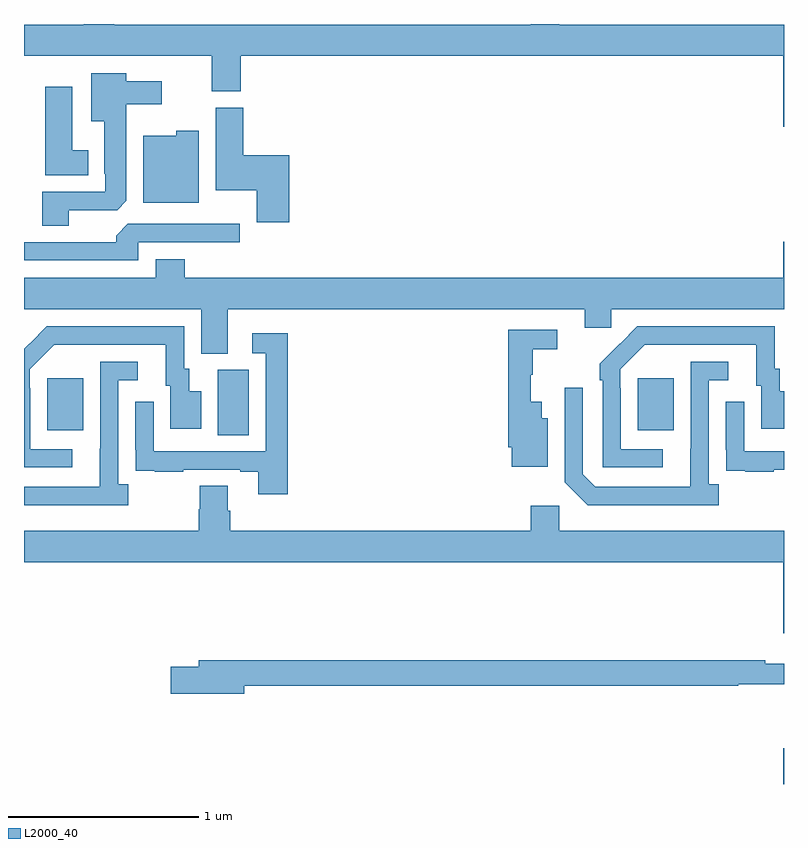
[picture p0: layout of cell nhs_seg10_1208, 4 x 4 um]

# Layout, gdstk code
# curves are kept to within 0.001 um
import gdstk
lib = gdstk.Library(unit=1e-6, precision=1e-09)
def R(c, l, rs):  # rectangles x0, y0, x1, y1
    for r in rs: c.add(gdstk.rectangle(r[:2], r[2:], *l))
def P(c, l, *ps):  # polygons
    for p in ps: c.add(gdstk.Polygon(p, *l))
L2000_40 = (2000, 40)

nhs_seg10_1208 = lib.new_cell('nhs_seg10_1208')
R(nhs_seg10_1208, L2000_40, [(176.996,1280.5,177,1280.689), (174.02,1282.336,174.184,1282.68), (173.123,1282.361,173.311,1282.636), (176.231,1282.361,176.419,1282.636)])
P(nhs_seg10_1208, L2000_40, [(177,1284.496),(175.818,1284.496),(175.818,1284.5),(175.667,1284.5),(175.667,1284.496),(173.474,1284.496),(173.474,1284.5),(173.314,1284.5),(173.314,1284.496),(173,1284.496),(173,1284.332),(173.987,1284.332),(173.987,1284.145),(174.14,1284.145),(174.14,1284.332),(176.996,1284.332),(176.996,1283.958),(177,1283.958)],
  [(173.236,1283.52),(173.49,1283.52),(173.539,1283.569),(173.539,1284.077),(173.725,1284.077),(173.725,1284.199),(173.539,1284.199),(173.539,1284.241),(173.354,1284.241),(173.354,1283.987),(173.423,1283.987),(173.423,1283.713),(173.427,1283.713),(173.427,1283.616),(173.096,1283.616),(173.096,1283.437),(173.236,1283.437)],
  [(173.338,1283.836),(173.254,1283.836),(173.254,1284.169),(173.111,1284.169),(173.111,1283.705),(173.338,1283.705)],
  [(174.395,1283.809),(174.155,1283.809),(174.155,1284.06),(174.008,1284.06),(174.008,1283.624),(174.224,1283.624),(174.224,1283.457),(174.395,1283.457)],
  [(173.92,1283.938),(173.802,1283.938),(173.802,1283.911),(173.627,1283.911),(173.627,1283.558),(173.92,1283.558)],
  [(173.601,1283.352),(174.136,1283.352),(174.136,1283.448),(173.547,1283.448),(173.486,1283.386),(173.486,1283.352),(173,1283.352),(173,1283.256),(173.601,1283.256)],
  [(173.693,1283.263),(173.693,1283.164),(173,1283.164),(173,1283),(173.933,1283),(173.933,1282.765),(174.073,1282.765),(174.073,1283),(175.952,1283),(175.952,1282.902),(176.091,1282.902),(176.091,1283),(177,1283),(177,1283.353),(176.996,1283.353),(176.996,1283.164),(173.846,1283.164),(173.846,1283.263)],
  [(176.362,1282.263),(176.142,1282.263),(176.142,1282.583),(176.139,1282.583),(176.139,1282.683),(176.268,1282.812),(176.855,1282.812),(176.855,1282.596),(176.879,1282.596),(176.879,1282.371),(177,1282.371),(177,1282.567),(176.977,1282.567),(176.977,1282.686),(176.952,1282.686),(176.952,1282.908),(176.228,1282.908),(176.031,1282.713),(176.031,1282.625),(176.046,1282.625),(176.046,1282.167),(176.362,1282.167)],
  [(173.254,1282.263),(173.034,1282.263),(173.034,1282.583),(173.031,1282.583),(173.031,1282.683),(173.16,1282.812),(173.747,1282.812),(173.747,1282.596),(173.771,1282.596),(173.771,1282.371),(173.932,1282.371),(173.932,1282.567),(173.869,1282.567),(173.869,1282.686),(173.844,1282.686),(173.844,1282.908),(173.12,1282.908),(173.029,1282.817),(173.028,1282.818),(173,1282.79),(173,1282.167),(173.254,1282.167)],
  [(175.756,1282.426),(175.726,1282.426),(175.726,1282.513),(175.667,1282.513),(175.667,1282.653),(175.678,1282.653),(175.678,1282.789),(175.807,1282.789),(175.807,1282.89),(175.549,1282.89),(175.549,1282.273),(175.568,1282.273),(175.568,1282.169),(175.756,1282.169)],
  [(174.389,1282.873),(174.201,1282.873),(174.201,1282.767),(174.273,1282.767),(174.273,1282.251),(173.682,1282.251),(173.682,1282.513),(173.586,1282.513),(173.586,1282.258),(173.587,1282.258),(173.587,1282.149),(173.689,1282.149),(173.689,1282.143),(173.837,1282.143),(173.837,1282.155),(174.137,1282.155),(174.137,1282.143),(174.233,1282.143),(174.233,1282.026),(174.389,1282.026)],
  [(176.656,1282.078),(176.604,1282.078),(176.604,1282.626),(176.707,1282.626),(176.707,1282.722),(176.508,1282.722),(176.507,1282.065),(176.007,1282.065),(175.941,1282.131),(175.941,1282.585),(175.845,1282.585),(175.845,1282.089),(175.966,1281.968),(176.656,1281.968)],
  [(173.548,1282.078),(173.496,1282.078),(173.496,1282.626),(173.599,1282.626),(173.599,1282.722),(173.4,1282.722),(173.4,1282.265),(173.399,1282.265),(173.399,1282.065),(173,1282.065),(173,1281.968),(173.548,1281.968)],
  [(176.945,1282.155),(177,1282.155),(177,1282.251),(176.79,1282.251),(176.79,1282.513),(176.694,1282.513),(176.694,1282.258),(176.695,1282.258),(176.695,1282.149),(176.797,1282.149),(176.797,1282.143),(176.945,1282.143)],
  [(177,1281.832),(175.818,1281.832),(175.818,1281.964),(175.667,1281.964),(175.667,1281.832),(174.086,1281.832),(174.086,1281.938),(174.073,1281.938),(174.073,1282.07),(173.926,1282.07),(173.926,1281.945),(173.921,1281.945),(173.921,1281.832),(173,1281.832),(173,1281.668),(176.996,1281.668),(176.996,1281.294),(177,1281.294)],
  [(174.16,1281.016),(176.758,1281.016),(176.758,1281.024),(177,1281.024),(177,1281.133),(176.9,1281.133),(176.9,1281.152),(173.921,1281.152),(173.921,1281.116),(173.772,1281.116),(173.772,1280.974),(174.16,1280.974)])

lib.write_gds('nhs_seg10_1208.gds')
